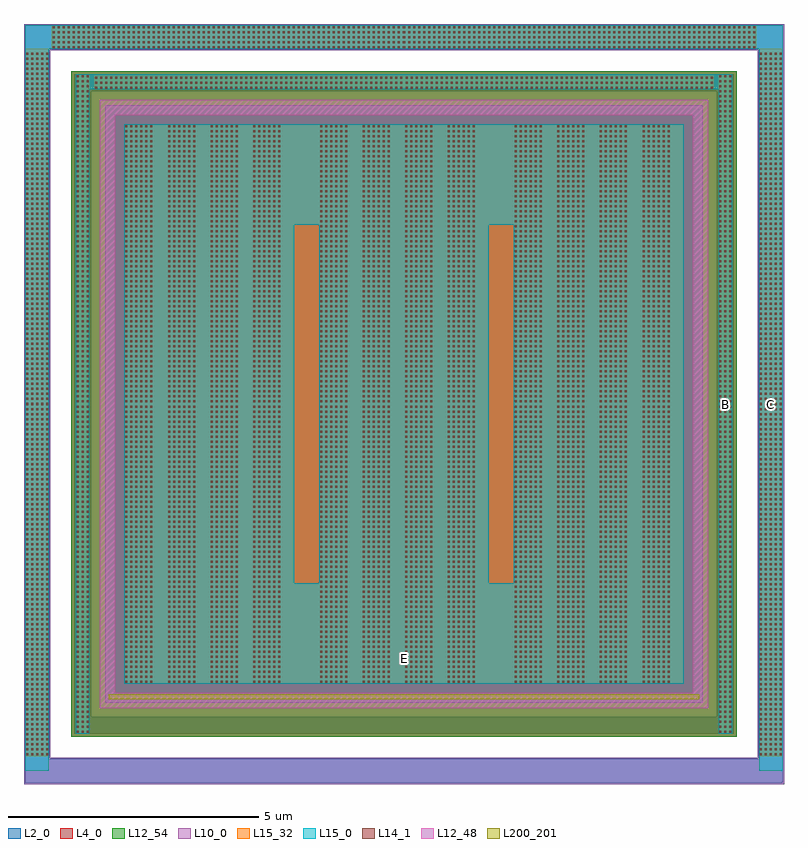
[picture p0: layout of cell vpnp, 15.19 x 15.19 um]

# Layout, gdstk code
import gdstk
lib = gdstk.Library(unit=1e-6, precision=1e-09)
def R(c, l, rs):  # rectangles x0, y0, x1, y1
    for r in rs: c.add(gdstk.rectangle(r[:2], r[2:], *l))
def A(c, l, x, y, w, h, nx, ny, dx, dy):  # array of equal rectangles
    R(c, l, [(x+i*dx, y+j*dy, x+i*dx+w, y+j*dy+h) for i in range(nx) for j in range(ny)])
L2_0 = (2, 0)
L4_0 = (4, 0)
L10_0 = (10, 0)
L12_48 = (12, 48)
L12_54 = (12, 54)
L14_1 = (14, 1)
L15_0 = (15, 0)
L15_32 = (15, 32)
L200_201 = (200, 201)

vpnp = lib.new_cell('vpnp')
R(vpnp, L2_0, [(-14.079,-6.109,1.073,-5.629), (-14.079,-5.629,-13.599,8.563), (0.593,-5.629,1.073,8.563), (-13.099,-5.129,0.093,-4.789), (-13.099,-4.789,-12.759,7.723), (-0.247,-4.789,0.093,7.723), (-12.403,-4.433,-0.603,7.367), (-13.099,7.723,0.093,8.063), (-14.079,8.563,1.073,9.043)])
R(vpnp, L4_0, [(-13.155,-5.185,0.149,8.119)])
R(vpnp, L10_0, [(-14.1,-6.13,1.094,-5.608), (-14.1,-5.608,-13.578,8.542), (0.572,-5.608,1.094,8.542), (-12.473,-4.503,-0.533,7.437), (-14.1,8.542,1.094,9.064)])
R(vpnp, L12_48, [(-12.584,-4.614,-0.422,-4.308), (-12.584,-4.308,-12.278,7.242), (-0.728,-4.308,-0.422,7.242), (-12.584,7.242,-0.422,7.548)])
R(vpnp, L12_54, [(-13.155,-5.185,0.149,8.119)])
A(vpnp, L14_1, -14.059, -5.553, 0.04, 0.04, 5, 141, 0.1, 0.1)
A(vpnp, L14_1, 0.613, -5.553, 0.04, 0.04, 5, 141, 0.1, 0.1)
A(vpnp, L14_1, -13.049, -5.103, 0.04, 0.04, 3, 132, 0.1, 0.1)
A(vpnp, L14_1, -0.197, -5.103, 0.04, 0.04, 3, 132, 0.1, 0.1)
A(vpnp, L14_1, -12.073, -4.103, 0.04, 0.04, 6, 112, 0.1, 0.1)
A(vpnp, L14_1, -11.221, -4.103, 0.04, 0.04, 6, 112, 0.1, 0.1)
A(vpnp, L14_1, -10.369, -4.103, 0.04, 0.04, 6, 112, 0.1, 0.1)
A(vpnp, L14_1, -9.517, -4.103, 0.04, 0.04, 6, 112, 0.1, 0.1)
A(vpnp, L14_1, -8.181, -4.103, 0.04, 0.04, 6, 112, 0.1, 0.1)
A(vpnp, L14_1, -7.329, -4.103, 0.04, 0.04, 6, 112, 0.1, 0.1)
A(vpnp, L14_1, -6.477, -4.103, 0.04, 0.04, 6, 112, 0.1, 0.1)
A(vpnp, L14_1, -5.625, -4.103, 0.04, 0.04, 6, 112, 0.1, 0.1)
A(vpnp, L14_1, -4.289, -4.103, 0.04, 0.04, 6, 112, 0.1, 0.1)
A(vpnp, L14_1, -3.437, -4.103, 0.04, 0.04, 6, 112, 0.1, 0.1)
A(vpnp, L14_1, -2.585, -4.103, 0.04, 0.04, 6, 112, 0.1, 0.1)
A(vpnp, L14_1, -1.733, -4.103, 0.04, 0.04, 6, 112, 0.1, 0.1)
A(vpnp, L14_1, -12.673, 7.773, 0.04, 0.04, 124, 3, 0.1, 0.1)
A(vpnp, L14_1, -13.523, 8.583, 0.04, 0.04, 141, 5, 0.1, 0.1)
A(vpnp, L15_0, -12.091, -2.121, 3.392, 7.176, 3, 1, 3.892, 0)
R(vpnp, L15_0, [(-14.077,-5.869,-13.601,9.041), (0.595,-5.869,1.071,9.041), (-13.067,-5.121,-12.791,8.055), (-0.215,-5.121,0.061,8.055), (-12.091,-4.121,-0.915,-2.121), (-12.091,5.055,-0.915,7.055), (-12.791,7.755,-0.215,8.055), (-13.601,8.565,0.595,9.041)])
R(vpnp, L15_32, [(-14.077,-5.571,-13.601,8.565), (0.595,-5.571,1.071,8.565), (-13.067,-5.121,-12.791,8.055), (-0.215,-5.121,0.061,8.055), (-12.091,-4.121,-0.915,7.055), (-12.691,7.755,-0.315,8.031), (-13.541,8.565,0.535,9.041)])
R(vpnp, L200_201, [(-12.403,-4.433,-0.603,-4.333)])
vpnp.add(gdstk.Label('E', (-6.503,-3.621), layer=15, texttype=20))
vpnp.add(gdstk.Label('B', (-0.077,1.467), layer=15, texttype=20))
vpnp.add(gdstk.Label('C', (0.833,1.467), layer=15, texttype=20))

lib.write_gds('vpnp.gds')
